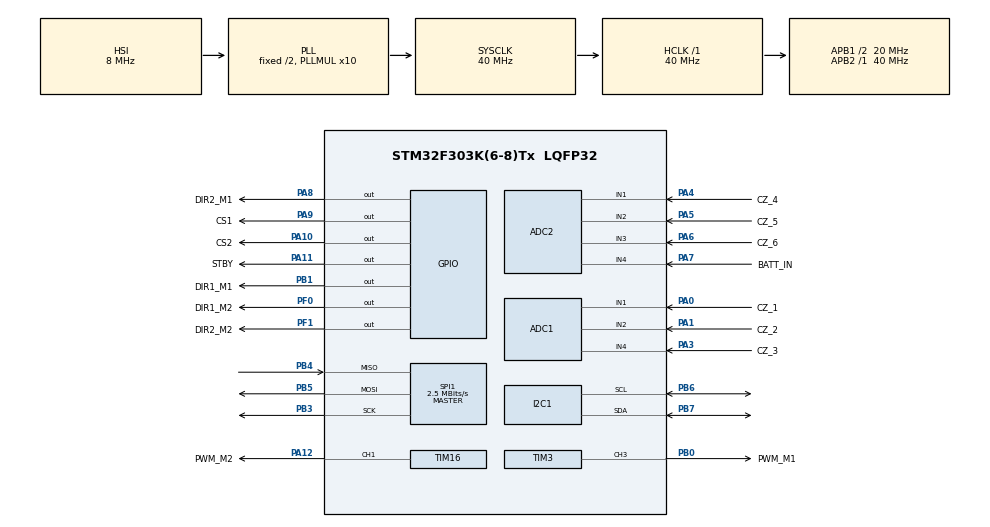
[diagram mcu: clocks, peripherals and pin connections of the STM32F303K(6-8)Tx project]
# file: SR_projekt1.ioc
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ADC1.Channel-0\#ChannelRegularConversion=ADC_CHANNEL_4
ADC1.NbrOfConversionFlag=1
ADC1.Offset-0\#ChannelRegularConversion=0
ADC1.OffsetNumber-0\#ChannelRegularConversion=ADC_OFFSET_NONE
ADC1.Rank-0\#ChannelRegularConversion=1
ADC1.SamplingTime-0\#ChannelRegularConversion=ADC_SAMPLETIME_1CYCLE_5
ADC1.SubFamily=STM32F303x8
ADC1.master=1
ADC2.Channel-0\#ChannelRegularConversion=ADC_CHANNEL_3
ADC2.NbrOfConversionFlag=1
ADC2.Offset-0\#ChannelRegularConversion=0
ADC2.OffsetNumber-0\#ChannelRegularConversion=ADC_OFFSET_NONE
ADC2.Rank-0\#ChannelRegularConversion=1
ADC2.SamplingTime-0\#ChannelRegularConversion=ADC_SAMPLETIME_1CYCLE_5
ADC2.SubFamily=STM32F303x8
Mcu.Family=STM32F3
Mcu.Name=STM32F303K(6-8)Tx
Mcu.Package=LQFP32
NVIC.ADC1_2_IRQn=true\:0\:0\:false\:false\:true\:true\:true
NVIC.I2C1_ER_IRQn=true\:0\:0\:false\:false\:true\:true\:true
NVIC.I2C1_EV_IRQn=true\:0\:0\:false\:false\:true\:true\:true
NVIC.PriorityGroup=NVIC_PRIORITYGROUP_4
NVIC.SPI1_IRQn=true\:0\:0\:false\:false\:true\:true\:true
NVIC.TIM1_UP_TIM16_IRQn=true\:0\:0\:false\:false\:true\:true\:true
NVIC.TIM3_IRQn=true\:0\:0\:false\:false\:true\:true\:true
PA0.GPIO_Label=CZ_1
PA0.Signal=SharedAnalog_PA0
PA1.GPIO_Label=CZ_2
PA1.Signal=SharedAnalog_PA1
PA10.GPIO_Label=CS2
PA10.Signal=GPIO_Output
PA11.GPIO_Label=STBY
PA11.Signal=GPIO_Output
PA12.GPIO_Label=PWM_M2
PA12.Signal=S_TIM16_CH1
PA3.GPIO_Label=CZ_3
PA3.Signal=SharedAnalog_PA3
PA4.GPIO_Label=CZ_4
PA4.Signal=SharedAnalog_PA4
PA5.GPIO_Label=CZ_5
PA5.Signal=SharedAnalog_PA5
PA6.GPIO_Label=CZ_6
PA6.Signal=SharedAnalog_PA6
PA7.GPIO_Label=BATT_IN
PA7.Signal=SharedAnalog_PA7
PA8.GPIO_Label=DIR2_M1
PA8.Signal=GPIO_Output
PA9.GPIO_Label=CS1
PA9.Signal=GPIO_Output
PB0.GPIO_Label=PWM_M1
PB0.Signal=S_TIM3_CH3
PB1.GPIO_Label=DIR1_M1
PB1.Signal=GPIO_Output
PB3.Mode=Full_Duplex_Master
PB3.Signal=SPI1_SCK
PB4.Mode=Full_Duplex_Master
PB4.Signal=SPI1_MISO
PB5.Mode=Full_Duplex_Master
PB5.Signal=SPI1_MOSI
PB6.Mode=I2C
PB6.Signal=I2C1_SCL
PB7.Mode=I2C
PB7.Signal=I2C1_SDA
PF0\ /\ OSC_IN.GPIO_Label=DIR1_M2
PF0\ /\ OSC_IN.Signal=GPIO_Output
PF1\ /\ OSC_OUT.GPIO_Label=DIR2_M2
PF1\ /\ OSC_OUT.Signal=GPIO_Output
ProjectManager.HeapSize=0x200
ProjectManager.StackSize=0x400
ProjectManager.TargetToolchain=STM32CubeIDE
RCC.AHBFreq_Value=40000000
RCC.APB1CLKDivider=RCC_HCLK_DIV2
RCC.APB1Freq_Value=20000000
RCC.APB1TimFreq_Value=40000000
RCC.APB2Freq_Value=40000000
RCC.APB2TimFreq_Value=40000000
RCC.CortexFreq_Value=40000000
RCC.HCLKFreq_Value=40000000
RCC.HSE_VALUE=8000000
RCC.HSI_VALUE=8000000
RCC.PLLMUL=RCC_PLL_MUL10
RCC.SYSCLKFreq_VALUE=40000000
RCC.SYSCLKSourceVirtual=RCC_SYSCLKSOURCE_PLLCLK
SH.S_TIM16_CH1.0=TIM16_CH1,PWM Generation1 CH1
SH.S_TIM3_CH3.0=TIM3_CH3,PWM Generation3 CH3
SH.SharedAnalog_PA0.0=GPIO_Analog
SH.SharedAnalog_PA0.1=ADC1_IN1,IN1-Single-Ended
SH.SharedAnalog_PA1.0=GPIO_Analog
SH.SharedAnalog_PA1.1=ADC1_IN2,IN2-Single-Ended
SH.SharedAnalog_PA3.0=GPIO_Analog
SH.SharedAnalog_PA3.1=ADC1_IN4,IN4-Single-Ended
SH.SharedAnalog_PA4.0=GPIO_Analog
SH.SharedAnalog_PA4.1=ADC2_IN1,IN1-Single-Ended
SH.SharedAnalog_PA5.0=GPIO_Analog
SH.SharedAnalog_PA5.1=ADC2_IN2,IN2-Single-Ended
SH.SharedAnalog_PA6.0=GPIO_Analog
SH.SharedAnalog_PA6.1=ADC2_IN3,IN3-Single-Ended
SH.SharedAnalog_PA7.0=GPIO_Analog
SH.SharedAnalog_PA7.1=ADC2_IN4,IN4-Single-Ended
SPI1.BaudRatePrescaler=SPI_BAUDRATEPRESCALER_16
SPI1.CalculateBaudRate=2.5 MBits/s
SPI1.Direction=SPI_DIRECTION_2LINES
SPI1.Mode=SPI_MODE_MASTER
SPI1.VirtualType=VM_MASTER
TIM16.Channel=TIM_CHANNEL_1
TIM16.Period=999
TIM16.Prescaler=39999
TIM3.Channel-PWM\ Generation3\ CH3=TIM_CHANNEL_3
TIM3.Period=999
TIM3.Prescaler=39999
VP_TIM16_VS_ClockSourceINT.Mode=Enable_Timer
VP_TIM17_VS_ClockSourceINT.Mode=Enable_Timer
board=custom

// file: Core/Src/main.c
/* USER CODE BEGIN Header */
/**
  ******************************************************************************
  * @file           : main.c
  * @brief          : Main program body
  ******************************************************************************
  * @attention
  *
  * <h2><center>&copy; Copyright (c) 2021 STMicroelectronics.
  * All rights reserved.</center></h2>
  *
  * This software component is licensed by ST under BSD 3-Clause license,
  * the "License"; You may not use this file except in compliance with the
  * License. You may obtain a copy of the License at:
  *                        opensource.org/licenses/BSD-3-Clause
  *
  ******************************************************************************
  */
/* USER CODE END Header */
#include "main.h"
#include "adc.h"
#include "i2c.h"
#include "spi.h"
#include "tim.h"
#include "gpio.h"

void SystemClock_Config(void);

/* USER CODE BEGIN 0 */

volatile uint16_t pwm_m1;
volatile uint16_t pwm_m2;

volatile uint16_t dir1_m1;
volatile uint16_t dir2_m1;

volatile uint16_t dir1_m2;
volatile uint16_t dir2_m2;

volatile uint16_t czuj1;
volatile uint16_t czuj2;
volatile uint16_t czuj3;
volatile uint16_t czuj4;
volatile uint16_t czuj5;
volatile uint16_t czuj6;

volatile uint16_t batt;

//////////////////////////////////////////////////////////////////////////////
// Funkcje ustawiające kierunek ruchu pierwszego silnika

void setDIR1_M1(){
	HAL_GPIO_WritePin(GPIOB, GPIO_PIN_1, SET);
}
void resetDIR1_M1(){
	HAL_GPIO_WritePin(GPIOB, GPIO_PIN_1, RESET);
}
void setDIR2_M1(){
	HAL_GPIO_WritePin(GPIOA, GPIO_PIN_8, SET);
}
void resetDIR2_M1(){
	HAL_GPIO_WritePin(GPIOA, GPIO_PIN_8, RESET);
}

void setM1_Forward(){
	resetDIR1_M1();
	setDIR2_M1();
}

void setM1_Backward(){
	setDIR1_M1();
	resetDIR2_M1();
}
//////////////////////////////////////////////////////////////////////////////

//////////////////////////////////////////////////////////////////////////////
// Funkcje ustawiające kierunek ruchu drugiego silnika

void setDIR1_M2(){
	HAL_GPIO_WritePin(GPIOF, GPIO_PIN_0, SET);
}
void resetDIR1_M2(){
	HAL_GPIO_WritePin(GPIOF, GPIO_PIN_0, RESET);
}
void setDIR2_M2(){
	HAL_GPIO_WritePin(GPIOF, GPIO_PIN_1, SET);
}
void resetDIR2_M2(){
	HAL_GPIO_WritePin(GPIOF, GPIO_PIN_1, RESET);
}

void setM2_Forward(){
	resetDIR1_M2();
	setDIR2_M2();
}

void setM2_Backward(){
	setDIR1_M2();
	resetDIR2_M2();
}
//////////////////////////////////////////////////////////////////////////////

//////////////////////////////////////////////////////////////////////////////
// Funkcje ustawiające wypełnienie PWM'ów obu silników

void setPWM_Motor1(int wypelnienie){
    __HAL_TIM_SET_COMPARE(&htim3, TIM_CHANNEL_3, wypelnienie);
}

void setPWM_Motor2(int wypelnienie){
    __HAL_TIM_SET_COMPARE(&htim16, TIM_CHANNEL_1, wypelnienie);
}

//////////////////////////////////////////////////////////////////////////////

//////////////////////////////////////////////////////////////////////////////
// Dokonywanie pomiarów z przetworników analogowo cyfrowych

void HAL_ADC_ConvCptlCallback(ADC_HandleTypeDef * hadc){
	  HAL_ADC_Start_IT(&hadc1);

	  if(hadc == &hadc1){
		adc_value = HAL_ADC_GetValue(&hadc1);
		adc_flag = 1;
	  }
	  if(hadc == &hadc2){
		adc_value = HAL_ADC_GetValue(&hadc2);
		adc_flag = 1;
	  }
	  HAL_ADC_Start_IT(&hadc1);

}

//////////////////////////////////////////////////////////////////////////////
// Funkcje obsługujące wymianę danych poprzez SPI

uint8_t mcp_read_reg(uint8_t addr){
	uint8_t tx_buf[] = { 0x41, addr, 0xFF };
	uint8_t rx_buf[3];

	HAL_GPIO_WritePin(GPIOA, GPIO_PIN_4, GPIO_PIN_RESET);
	HAL_SPI_TransmitReceive(&hspi1, tx_buf, rx_buf, 3, HAL_MAX_DELAY);
	HAL_GPIO_WritePin(GPIOA, GPIO_PIN_4, GPIO_PIN_SET);

	return rx_buf[2];
}

void mcp_write_reg(uint8_t addr, uint8_t value){
	uint8_t tx_buf[] = { 0x40, addr, value };

	HAL_GPIO_WritePin(GPIOA, GPIO_PIN_4, GPIO_PIN_RESET);
	HAL_SPI_Transmit(&hspi1, tx_buf, 3, HAL_MAX_DELAY);
	HAL_GPIO_WritePin(GPIOA, GPIO_PIN_4, GPIO_PIN_SET);
}

//////////////////////////////////////////////////////////////////////////////

/* USER CODE END 0 */

int main(void)
{

  /* MCU Configuration--------------------------------------------------------*/

  /* Reset of all peripherals, Initializes the Flash interface and the Systick. */
  HAL_Init();

  /* Configure the system clock */
  SystemClock_Config();

  /* Initialize all configured peripherals */
  MX_GPIO_Init();
  MX_TIM16_Init();
  MX_TIM17_Init();
  MX_I2C1_Init();
  MX_SPI1_Init();
  MX_ADC2_Init();
  MX_ADC1_Init();
  MX_TIM3_Init();
  /* USER CODE BEGIN 2 */
  HAL_TIM_PWM_Start(&htim3, TIM_CHANNEL_3);
  HAL_TIM_PWM_Start(&htim16, TIM_CHANNEL_1);
  HAL_ADC_Start_IT(&hadc1);
  HAL_ADC_Start_IT(&hadc2);

  /* USER CODE END 2 */

  /* Infinite loop */
  while (1)
  {

  }
}

void SystemClock_Config(void)
{
  RCC_OscInitTypeDef RCC_OscInitStruct = {0};
  RCC_ClkInitTypeDef RCC_ClkInitStruct = {0};
  RCC_PeriphCLKInitTypeDef PeriphClkInit = {0};

  /** Initializes the RCC Oscillators according to the specified parameters
  * in the RCC_OscInitTypeDef structure.
  */
  RCC_OscInitStruct.OscillatorType = RCC_OSCILLATORTYPE_HSI;
  RCC_OscInitStruct.HSIState = RCC_HSI_ON;
  RCC_OscInitStruct.HSICalibrationValue = RCC_HSICALIBRATION_DEFAULT;
  RCC_OscInitStruct.PLL.PLLState = RCC_PLL_ON;
  RCC_OscInitStruct.PLL.PLLSource = RCC_PLLSOURCE_HSI;
  RCC_OscInitStruct.PLL.PLLMUL = RCC_PLL_MUL10;
  if (HAL_RCC_OscConfig(&RCC_OscInitStruct) != HAL_OK)
  {
    Error_Handler();
  }
  /** Initializes the CPU, AHB and APB buses clocks
  */
  RCC_ClkInitStruct.ClockType = RCC_CLOCKTYPE_HCLK|RCC_CLOCKTYPE_SYSCLK
                              |RCC_CLOCKTYPE_PCLK1|RCC_CLOCKTYPE_PCLK2;
  RCC_ClkInitStruct.SYSCLKSource = RCC_SYSCLKSOURCE_PLLCLK;
  RCC_ClkInitStruct.AHBCLKDivider = RCC_SYSCLK_DIV1;
  RCC_ClkInitStruct.APB1CLKDivider = RCC_HCLK_DIV2;
  RCC_ClkInitStruct.APB2CLKDivider = RCC_HCLK_DIV1;

  if (HAL_RCC_ClockConfig(&RCC_ClkInitStruct, FLASH_LATENCY_1) != HAL_OK)
  {
    Error_Handler();
  }
  PeriphClkInit.PeriphClockSelection = RCC_PERIPHCLK_I2C1|RCC_PERIPHCLK_ADC12;
  PeriphClkInit.Adc12ClockSelection = RCC_ADC12PLLCLK_DIV1;
  PeriphClkInit.I2c1ClockSelection = RCC_I2C1CLKSOURCE_HSI;
  if (HAL_RCCEx_PeriphCLKConfig(&PeriphClkInit) != HAL_OK)
  {
    Error_Handler();
  }
}

void Error_Handler(void)
{
  __disable_irq();
  while (1)
  {
  }
}

/************************ (C) COPYRIGHT STMicroelectronics *****END OF FILE****/
